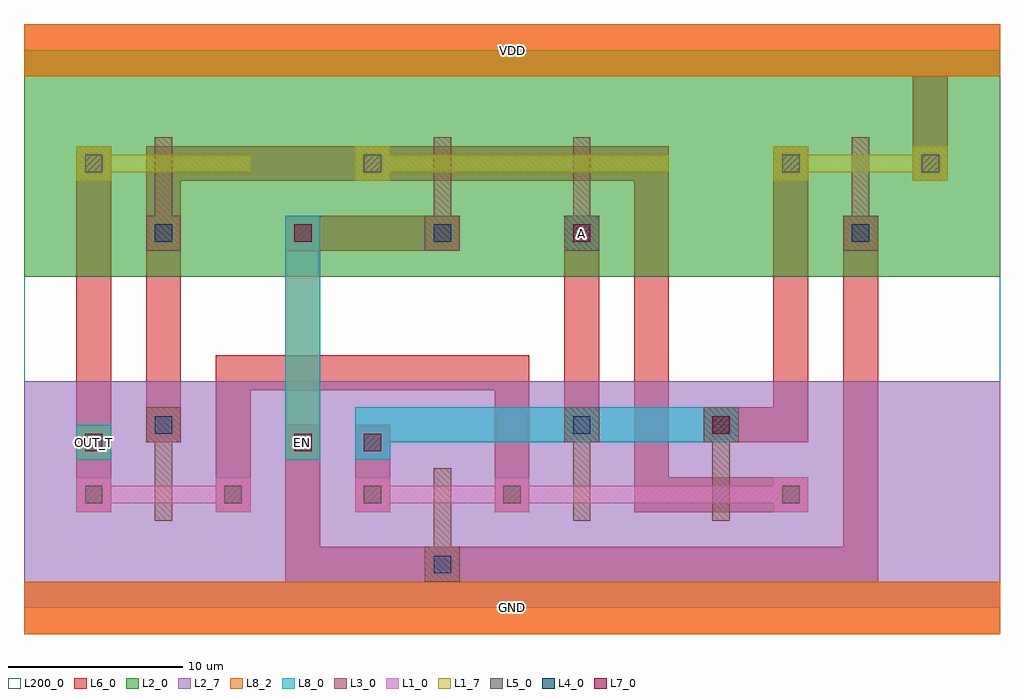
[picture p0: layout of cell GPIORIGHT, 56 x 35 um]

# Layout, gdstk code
import gdstk
lib = gdstk.Library(unit=1e-6, precision=1e-09)
def R(c, l, rs):  # rectangles x0, y0, x1, y1
    for r in rs: c.add(gdstk.rectangle(r[:2], r[2:], *l))
def A(c, l, x, y, w, h, nx, ny, dx, dy):  # array of equal rectangles
    R(c, l, [(x+i*dx, y+j*dy, x+i*dx+w, y+j*dy+h) for i in range(nx) for j in range(ny)])
def P(c, l, *ps):  # polygons
    for p in ps: c.add(gdstk.Polygon(p, *l))
L1_0 = (1, 0)
L1_7 = (1, 7)
L2_0 = (2, 0)
L2_7 = (2, 7)
L3_0 = (3, 0)
L4_0 = (4, 0)
L5_0 = (5, 0)
L6_0 = (6, 0)
L7_0 = (7, 0)
L8_0 = (8, 0)
L8_2 = (8, 2)
L200_0 = (200, 0)

gpioright = lib.new_cell('GPIORIGHT')
P(gpioright, L1_0, [(3,5.5),(3,7.5),(5,7.5),(5,7),(11,7),(11,7.5),(13,7.5),(13,5.5),(11,5.5),(11,6),(5,6),(5,5.5)],
  [(19,5.5),(19,7.5),(21,7.5),(21,7),(27,7),(27,7.5),(29,7.5),(29,7),(43,7),(43,7.5),(45,7.5),(45,5.5),(43,5.5),(43,6),(29,6),(29,5.5),(27,5.5),(27,6),(21,6),(21,5.5)])
P(gpioright, L1_7, [(3,24.5),(3,26.5),(5,26.5),(5,26),(13,26),(13,25),(5,25),(5,24.5)],
  [(19,24.5),(19,26.5),(21,26.5),(21,26),(37,26),(37,25),(21,25),(21,24.5)],
  [(43,24.5),(43,26.5),(45,26.5),(45,26),(51,26),(51,26.5),(53,26.5),(53,24.5),(51,24.5),(51,25),(45,25),(45,24.5)])
R(gpioright, L2_0, [(0,19,56,32)])
R(gpioright, L2_7, [(0,0,56,13)])
P(gpioright, L3_0, [(23,1.5),(23,3.5),(23.5,3.5),(23.5,8),(24.5,8),(24.5,3.5),(25,3.5),(25,1.5)],
  [(7.5,5),(7.5,9.5),(7,9.5),(7,11.5),(9,11.5),(9,9.5),(8.5,9.5),(8.5,5)],
  [(31.5,5),(31.5,9.5),(31,9.5),(31,11.5),(33,11.5),(33,9.5),(32.5,9.5),(32.5,5)],
  [(39.5,5),(39.5,9.5),(39,9.5),(39,11.5),(41,11.5),(41,9.5),(40.5,9.5),(40.5,5)],
  [(7,20.5),(7,22.5),(7.5,22.5),(7.5,27),(8.5,27),(8.5,22.5),(9,22.5),(9,20.5)],
  [(23,20.5),(23,22.5),(23.5,22.5),(23.5,27),(24.5,27),(24.5,22.5),(25,22.5),(25,20.5)],
  [(31,20.5),(31,22.5),(31.5,22.5),(31.5,27),(32.5,27),(32.5,22.5),(33,22.5),(33,20.5)],
  [(47,20.5),(47,22.5),(47.5,22.5),(47.5,27),(48.5,27),(48.5,22.5),(49,22.5),(49,20.5)])
R(gpioright, L4_0, [(23.5,2,24.5,3), (7.5,10,8.5,11), (31.5,10,32.5,11), (39.5,10,40.5,11), (7.5,21,8.5,22), (23.5,21,24.5,22), (31.5,21,32.5,22), (47.5,21,48.5,22)])
A(gpioright, L5_0, 3.5, 6, 1, 1, 4, 1, 8, 0)
R(gpioright, L5_0, [(43.5,6,44.5,7), (3.5,25,4.5,26), (19.5,25,20.5,26), (43.5,25,44.5,26), (51.5,25,52.5,26)])
R(gpioright, L6_0, [(3,5.5,5,26.5), (19,5.5,21,10.5), (31,9.5,33,22.5), (15,20.5,25,22.5)])
P(gpioright, L6_0, [(11,5.5),(11,14.5),(29,14.5),(29,5.5),(27,5.5),(27,12.5),(13,12.5),(13,5.5)],
  [(0,-1.5),(0,1.5),(15,1.5),(15,10.5),(17,10.5),(17,3.5),(47,3.5),(47,22.5),(49,22.5),(49,1.5),(56,1.5),(56,-1.5)],
  [(35,5.5),(35,24.5),(9,24.5),(9,9.5),(7,9.5),(7,26.5),(37,26.5),(37,7.5),(45,7.5),(45,5.5)],
  [(39,9.5),(39,11.5),(43,11.5),(43,26.5),(45,26.5),(45,9.5)],
  [(51,24.5),(51,30.5),(0,30.5),(0,33.5),(56,33.5),(56,30.5),(53,30.5),(53,24.5)])
R(gpioright, L7_0, [(3.5,9,4.5,10), (15.5,9,16.5,10), (19.5,9,20.5,10), (39.5,10,40.5,11), (15.5,21,16.5,22), (31.5,21,32.5,22)])
R(gpioright, L8_0, [(3,8.5,5,10.5), (15,8.5,17,22.5), (31,20.5,33,22.5)])
P(gpioright, L8_0, [(19,8.5),(19,11.5),(41,11.5),(41,9.5),(21,9.5),(21,8.5)])
R(gpioright, L8_2, [(3,8.5,5,10.5), (15,8.5,17,22.5), (31,20.5,33,22.5)])
R(gpioright, L200_0, [(0,0,56,32)])
gpioright.add(gdstk.FlexPath([(0,32),(56,32)], 3, ends="flush", simple_path=True, layer=8, datatype=2))  # L8_2
gpioright.add(gdstk.FlexPath([(0,0),(56,0)], 3, ends="flush", simple_path=True, layer=8, datatype=2))  # L8_2
gpioright.add(gdstk.Label('GND', (28,0), layer=6, texttype=1))
gpioright.add(gdstk.Label('VDD', (28,32), layer=6, texttype=1))
gpioright.add(gdstk.Label('OUT_T', (4,9.5), layer=8, texttype=1))
gpioright.add(gdstk.Label('EN', (16,9.5), layer=8, texttype=1))
gpioright.add(gdstk.Label('A', (32,21.5), layer=8, texttype=1))

lib.write_gds('GPIORIGHT.gds')
